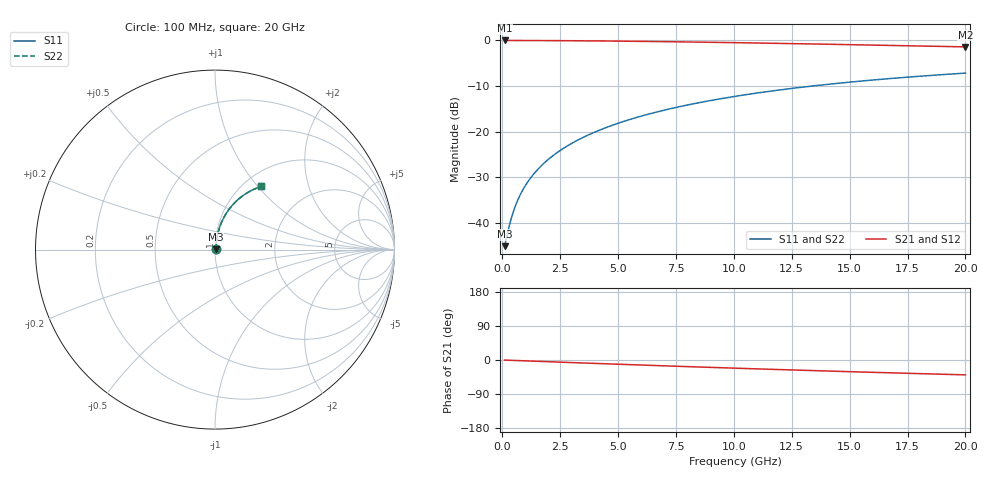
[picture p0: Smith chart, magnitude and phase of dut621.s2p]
! Touchstone file exported from HFSS 2024.1.0
!  File:  C:/UserFiles/LocalFiles/RDL_TSV_Batchsim/temp_RDL_bottom_621_1779784070.aedt
!  Generated:  04:30:22 PM May 26, 2026
!  Design:  RDL_bottom
!  Project:  temp_RDL_bottom_621_1779784070
!  Setup:  Setup1
!  Solution:  Sweep
! Variables:
!  dtsv = 10.80580581um
!  hbump = 3um
!  htsv = 61.39um
!  ldown = 511.87um
!  lrdl = 100um
!  p = 40
!  p1 = 43.95um
!  rhole = 1um
!  t = 450um
!  tdown = 2.9um
!  trdl = 3.915915916um
!  wdown = 12.88um
!  wrdl = 20um
# GHz S MA R 50.000000
! Terminal data exported
! Port[1] = RDL1_T1
! Port[2] = RDL1_T2
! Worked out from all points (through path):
!   200 points, 100 MHz to 20 GHz, reference 50 ohm
!   highest |S21| = -0.04 dB at 100 MHz (marker M1); lowest = -1.4 dB at 20 GHz (marker M2)
!   group delay of S21, straight-line fit = 5.45 ps
!   lowest |S11| = -45.0 dB at 100 MHz (marker M3), VSWR 1.01, Z = 50.5 + j0.262 ohm
!   |S11| at or under -10 dB: start of sweep to 13.4 GHz
!   |S22| runs from -45.0 to -7.2 dB; largest |S21 - S12| = 2e-15
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0.1  0.005596 27.6  0.995 -0.2  0.995 -0.2  0.005596 27.6
! Gamma 0 0 0 0
! Port Impedance 50 0 50 0
0.3  0.009293 56.3  0.9949 -0.7  0.9949 -0.7  0.009293 56.3
0.4  0.01155 62.7  0.9947 -0.9  0.9947 -0.9  0.01155 62.7
0.5  0.01388 66.9  0.9946 -1.2  0.9946 -1.2  0.01388 66.9
0.6  0.01625 69.7  0.9944 -1.4  0.9944 -1.4  0.01625 69.7
0.7  0.01863 71.8  0.9942 -1.6  0.9942 -1.6  0.01863 71.8
0.9  0.02342 74.7  0.9939 -2.1  0.9939 -2.1  0.02342 74.7
1.2  0.03065 77.2  0.9934 -2.8  0.9934 -2.8  0.03065 77.2
1.4  0.03549 78.2  0.993 -3.2  0.993 -3.2  0.03549 78.2
1.7  0.04278 79.2  0.9923 -3.9  0.9923 -3.9  0.04278 79.2
2.2  0.05499 80.1  0.991 -5.0  0.991 -5.0  0.05499 80.1
2.8  0.06968 80.3  0.9891 -6.3  0.9891 -6.3  0.06968 80.3
3.5  0.08686 80.0  0.9864 -7.9  0.9864 -7.9  0.08686 80.0
4.2  0.104 79.4  0.9831 -9.4  0.9831 -9.4  0.104 79.4
5  0.1236 78.4  0.9789 -11.2  0.9789 -11.2  0.1236 78.4
5.9  0.1456 77.2  0.9734 -13.1  0.9734 -13.1  0.1455 77.2
6.8  0.1673 75.8  0.9674 -15.0  0.9674 -15.0  0.1673 75.8
8.3  0.203 73.4  0.9561 -18.1  0.9561 -18.1  0.203 73.4
10.1  0.2446 70.3  0.9412 -21.7  0.9412 -21.7  0.2446 70.3
13.4  0.3161 64.5  0.911 -28.0  0.911 -28.0  0.3161 64.5
16.7  0.3805 59.0  0.8789 -33.8  0.8789 -33.8  0.3804 58.9
20  0.4371 53.7  0.8463 -39.2  0.8463 -39.2  0.437 53.7
